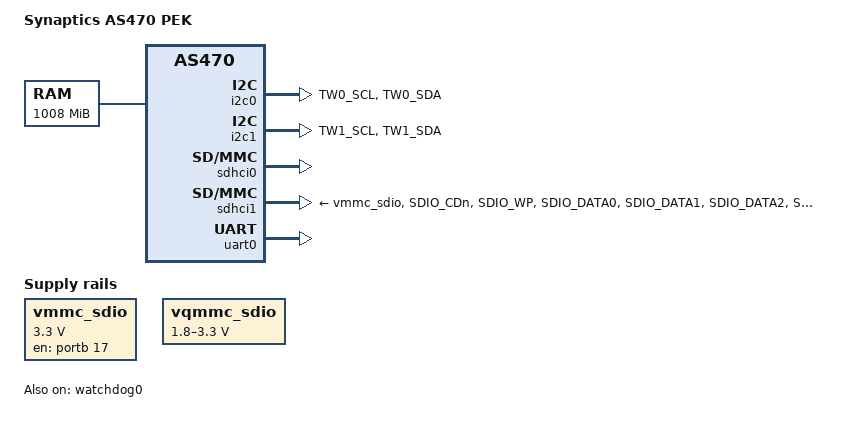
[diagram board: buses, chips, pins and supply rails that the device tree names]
// SPDX-License-Identifier: (GPL-2.0 OR MIT)
/*
 * Copyright (C) 2020 Synaptics Incorporated
 *
 * Author: Jisheng Zhang <jszhang@kernel.org>
 */

/dts-v1/;

/memreserve/ 0x3ff00000 0x00100000;

#include <dt-bindings/gpio/gpio.h>

#include "as470.dtsi"

/ {
	model = "Synaptics AS470 PEK";
	compatible = "syna,as470-pek", "syna,as470";

	chosen {
		stdout-path = "serial0:115200n8";
		linux,initrd-start = <0x08000000>;
		linux,initrd-end = <0x0807AF91>;
	};

	memory {
		device_type = "memory";
		reg = <0 0x01000000 0 0x3f000000>;
	};

	ion {
		compatible = "syna,ion-berlin-heaps";
		pool-num = <1>;
		reg-names = "NonSecure";
		reg = <0 0x3ff00000 0 0x100000>;
		attributes-num-per-pool = <2>;
		pool-attributes = <0x00000102 0x00000F36>;
	};

	regulators {
		compatible = "simple-bus";
		#address-cells = <1>;
		#size-cells = <0>;

		vmmc_sdio: vmmc_sdio {
			compatible = "regulator-fixed";
			regulator-min-microvolt = <3300000>;
			regulator-max-microvolt = <3300000>;
			regulator-name = "vmmc_sdio";
			enable-active-high;
			regulator-boot-on;
			gpio = <&portb 17 GPIO_ACTIVE_HIGH>;
		};

		vqmmc_sdio: vqmmc_sdio {
			compatible = "regulator-gpio";
			regulator-min-microvolt = <1800000>;
			regulator-max-microvolt = <3300000>;
			regulator-name = "vqmmc_sdio";
			regulator-type = "voltage";
			enable-active-high;
			gpios = <&porta 30 GPIO_ACTIVE_HIGH>;
			states = <3300000 0x0
				  1800000 0x1>;
		};
	};
};

&i2c0 {
	status = "okay";
	pinctrl-0 = <&i2c0_pmux>;
	pinctrl-names = "default";
};

&i2c1 {
	status = "okay";
	pinctrl-0 = <&i2c1_pmux>;
	pinctrl-names = "default";
};

&pinctrl {
	i2c0_pmux: i2c0-pmux {
		groups = "TW0_SCL", "TW0_SDA";
		function = "tw0";
	};

	i2c1_pmux: i2c1-pmux {
		groups = "TW1_SCL", "TW1_SDA";
		function = "tw1";
	};

	sdio_pmux: sdio-pmux {
		groups = "SDIO_CDn", "SDIO_WP", "SDIO_DATA0", "SDIO_DATA1", "SDIO_DATA2", "SDIO_DATA3", "SDIO_CLK", "SDIO_CMD";
		function = "sdio";
	};

	sdio_gpio_pmux: sdio_gpio-pmux {
		groups = "SPI2_SS1n", "GPIO_A0";
		function = "gpio";
	};
};

&sdhci0 {
	status = "okay";
};

&sdhci1 {
	status = "okay";
	vmmc-supply = <&vmmc_sdio>;
	vqmmc-supply = <&vqmmc_sdio>;
	pinctrl-0 = <&sdio_pmux>, <&sdio_gpio_pmux>;
	pinctrl-names = "default";
};

&uart0 {
	status = "okay";
};

&watchdog0 {
	status = "okay";
};
